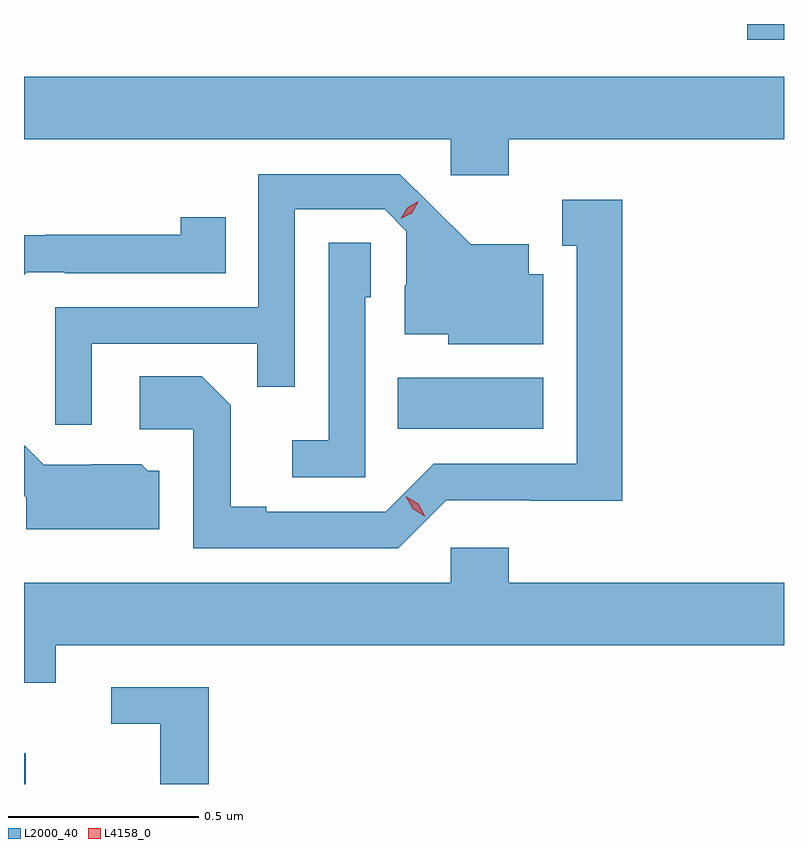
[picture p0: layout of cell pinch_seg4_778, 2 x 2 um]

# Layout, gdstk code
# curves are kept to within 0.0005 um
import gdstk
lib = gdstk.Library(unit=1e-6, precision=1e-09)
def R(c, l, rs):  # rectangles x0, y0, x1, y1
    for r in rs: c.add(gdstk.rectangle(r[:2], r[2:], *l))
def P(c, l, *ps):  # polygons
    for p in ps: c.add(gdstk.Polygon(p, *l))
L2000_40 = (2000, 40)
L4158_0 = (4158, 0)

pinch_seg4_778 = lib.new_cell('pinch_seg4_778')
R(pinch_seg4_778, L2000_40, [(774.286,817.37,774.67,817.504), (775.206,818.393,775.303,818.435)])
P(pinch_seg4_778, L2000_40, [(774.578,818.132),(775.303,818.132),(775.303,818.296),(773.303,818.296),(773.303,818.132),(774.426,818.132),(774.426,818.037),(774.578,818.037)],
  [(773.481,817.593),(773.917,817.593),(773.917,817.48),(774.015,817.48),(774.015,817.947),(774.252,817.947),(774.309,817.89),(774.309,817.748),(774.305,817.748),(774.305,817.619),(774.42,817.619),(774.42,817.592),(774.67,817.592),(774.67,817.777),(774.631,817.777),(774.631,817.855),(774.479,817.855),(774.292,818.04),(773.919,818.04),(773.919,817.689),(773.385,817.689),(773.385,817.38),(773.481,817.38)],
  [(774.414,817.182),(774.636,817.182),(774.636,817.181),(774.877,817.181),(774.877,817.972),(774.719,817.972),(774.719,817.851),(774.758,817.851),(774.758,817.278),(774.381,817.278),(774.255,817.152),(773.941,817.152),(773.941,817.165),(773.847,817.165),(773.847,817.432),(773.771,817.508),(773.607,817.508),(773.607,817.368),(773.748,817.368),(773.748,817.056),(774.288,817.056)],
  [(773.31,817.782),(773.41,817.782),(773.41,817.779),(773.834,817.779),(773.834,817.927),(773.716,817.927),(773.716,817.88),(773.359,817.88),(773.359,817.879),(773.303,817.879),(773.303,817.775)],
  [(774.201,817.716),(774.216,817.716),(774.216,817.859),(774.105,817.859),(774.105,817.339),(774.009,817.339),(774.009,817.242),(774.201,817.242)],
  [(773.659,817.26),(773.628,817.26),(773.612,817.276),(773.478,817.276),(773.478,817.275),(773.355,817.275),(773.303,817.327),(773.303,817.194),(773.309,817.188),(773.309,817.106),(773.659,817.106)],
  [(773.386,816.8),(775.303,816.8),(775.303,816.964),(774.578,816.964),(774.578,817.057),(774.426,817.057),(774.426,816.964),(773.303,816.964),(773.303,816.702),(773.386,816.702)],
  [(773.789,816.69),(773.532,816.69),(773.532,816.593),(773.661,816.593),(773.661,816.435),(773.789,816.435)],
  [(773.307,816.513),(773.303,816.517),(773.303,816.435),(773.307,816.435)])
P(pinch_seg4_778, L4158_0, [(774.358,817.14),(774.326,817.159),(774.308,817.192),(774.308,817.192),(774.308,817.192),(774.34,817.173),(774.358,817.141),(774.358,817.14)],
  [(774.294,817.922),(774.294,817.922),(774.311,817.952),(774.341,817.968),(774.341,817.968),(774.341,817.967),(774.324,817.937),(774.294,817.922)])

lib.write_gds('pinch_seg4_778.gds')
